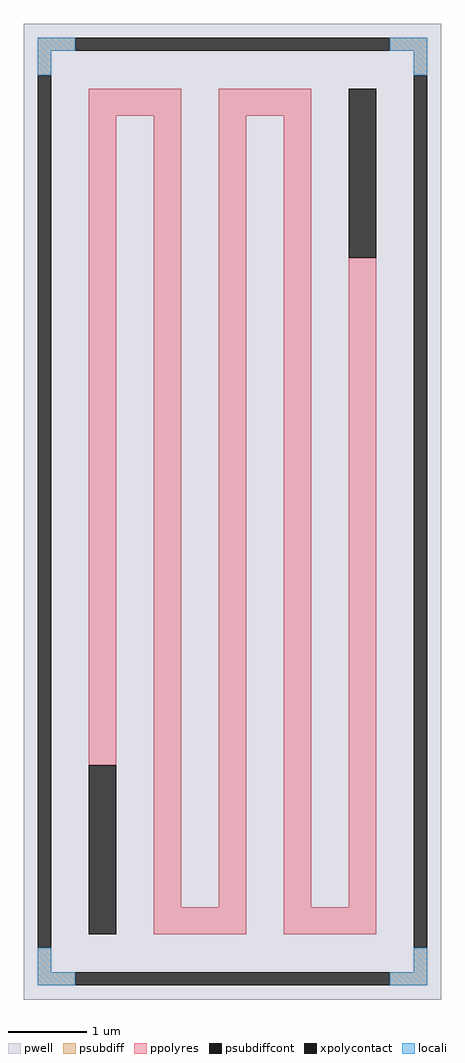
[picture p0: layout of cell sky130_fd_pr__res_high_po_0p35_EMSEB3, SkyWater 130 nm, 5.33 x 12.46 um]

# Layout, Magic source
magic
tech sky130A
magscale 1 2
<< pwell >>
rect -533 -1246 533 1246
<< psubdiff >>
rect -497 1176 -401 1210
rect 401 1176 497 1210
rect -497 1114 -463 1176
rect 463 1114 497 1176
rect -497 -1176 -463 -1114
rect 463 -1176 497 -1114
rect -497 -1210 -401 -1176
rect 401 -1210 497 -1176
<< psubdiffcont >>
rect -401 1176 401 1210
rect -497 -1114 -463 1114
rect 463 -1114 497 1114
rect -401 -1210 401 -1176
<< xpolycontact >>
rect -367 -1080 -297 -648
rect 297 648 367 1080
<< ppolyres >>
rect -367 1010 -131 1080
rect -367 -648 -297 1010
rect -201 -1010 -131 1010
rect -35 1010 201 1080
rect -35 -1010 35 1010
rect -201 -1080 35 -1010
rect 131 -1010 201 1010
rect 297 -1010 367 648
rect 131 -1080 367 -1010
<< locali >>
rect -497 1176 -401 1210
rect 401 1176 497 1210
rect -497 1114 -463 1176
rect 463 1114 497 1176
rect -497 -1176 -463 -1114
rect 463 -1176 497 -1114
rect -497 -1210 -401 -1176
rect 401 -1210 497 -1176
<< properties >>
string FIXED_BBOX -480 -1193 480 1193
string gencell sky130_fd_pr__res_high_po_0p35
string library sky130
string parameters w 0.35 l 10.8 m 1 nx 5 wmin 0.350 lmin 0.50 rho 319.8 val 51.733k dummy 0 dw 0.0 term 194.82 sterm 0.0 caplen 0 guard 1 glc 1 grc 1 gtc 1 gbc 1 compatible {sky130_fd_pr__res_high_po_0p35  sky130_fd_pr__res_high_po_0p69 sky130_fd_pr__res_high_po_1p41  sky130_fd_pr__res_high_po_2p85 sky130_fd_pr__res_high_po_5p73} snake 1 full_metal 1 wmax 0.350 vias 1 n_guard 0 hv_guard 0 viagb 0 viagt 0 viagl 0 viagr 0
<< end >>
